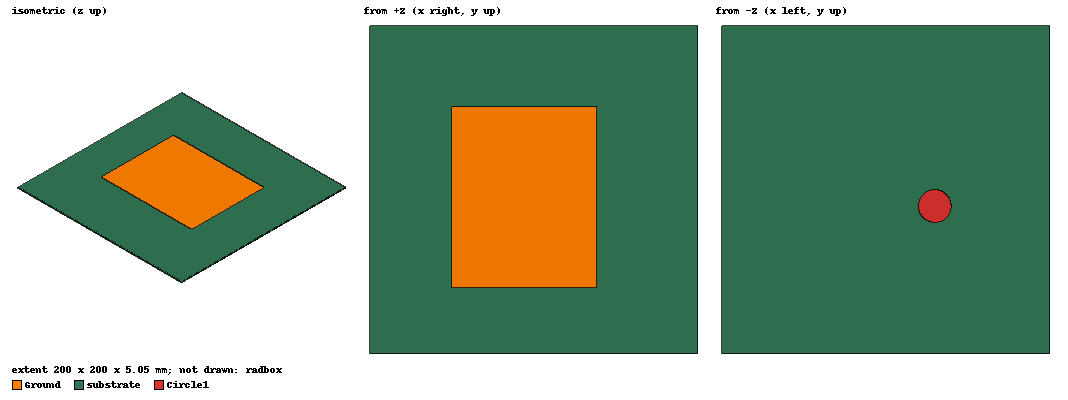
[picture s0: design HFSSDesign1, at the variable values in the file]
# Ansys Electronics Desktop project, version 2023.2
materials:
  vacuum: permittivity=1
  Rogers RO4003 (tm): permittivity=3.55 dielectric_loss_tangent=0.0027
  copper: permeability=0.999991 conductivity=58000000
  Teflon (tm): permittivity=2.1 dielectric_loss_tangent=0.001
  air: permittivity=1.0006 permeability=1.0000004

design HFSSDesign1 (HFSS, HFSS Terminal Network, model units mm)
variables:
  subl = 200mm
  subw = 200mm
  height = 0.8mm
  patchl = 88.343113mm
  patchw = 110.49892mm
  xr = 70mm
  yr = 90mm
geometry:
  substrate [Rogers RO4003 (tm)] = box(corner=(0mm, 0mm, 0mm), size=(subl, subw, -height))
  Patch = rectangle(corner=(50mm, 40mm, 0mm), x_size=88.343113mm, y_size=110.49892mm)
  Patch.thicken(0.05mm)
  Ground [copper] = rectangle(corner=(0mm, 0mm, -(height)), x_size=subl, y_size=subw)
  Ground.thicken(0.05mm)
  Shortpin = cylinder(axis=Z, base_centre=(60mm, 45mm, 0mm), radius=0.6mm, height=-height)
  Circle1 = circle(normal=Z, centre=(xr, yr, -5mm), radius=10mm)
  Circle2 = circle(normal=Z, centre=(xr, yr, -height), radius=1mm)
  Circle2.thicken(0.05mm)
  Ground.subtract(Circle2)
  outer [Teflon (tm)] = cylinder(axis=Z, base_centre=(xr, yr, -5mm), radius=1mm, height=5mm-height)
  inner = cylinder(axis=Z, base_centre=(xr, yr, 0mm), radius=0.6mm, height=-5mm)
  sourcepin [copper] = cylinder(axis=Z, base_centre=(xr, yr, 0mm), radius=0.6mm, height=-5mm)
  outer.subtract(inner)
  radbox [air] = box(corner=(-230mm, -220mm, -40mm), size=(600mm, 600mm, 100mm))
  Ground.unite(Shortpin, Patch)
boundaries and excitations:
  Rad1: Radiation Objects=radbox
  1: Lumped Port Objects=Circle1 LumpedPortType=Modal Modes{Mode1{IntLine{(70, 90, -5) -> (77000mm, 97000mm, -5000mm)} CharImp=Zpi}} Impedance=50ohm
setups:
  Setup1: HfssDriven Frequency=900MHz MaxDeltaS=0.02 MaximumPasses=6 MinimumPasses=1 MinimumConvergedPasses=1 PercentRefinement=30 BasisOrder=1 PortAccuracy=2 UseABCOnPort DrivenSolverType="Direct Solver"
    sweep Sweep: 450MHz to 1350MHz, 401 points; Type=Fast SaveFields
  Setup2: HfssDriven Frequency=5GHz MaxDeltaS=0.02 MaximumPasses=6 MinimumPasses=1 MinimumConvergedPasses=1 PercentRefinement=30 BasisOrder=1 PortAccuracy=2 UseABCOnPort DrivenSolverType="Direct Solver"
  Setup3: HfssDriven Frequency=900MHz MaxDeltaS=0.02 MaximumPasses=6 MinimumPasses=1 MinimumConvergedPasses=1 PercentRefinement=30 BasisOrder=1 PortAccuracy=2 UseABCOnPort DrivenSolverType="Direct Solver"
    sweep Sweep: 450MHz to 1350MHz, 401 points; Type=Fast SaveFields
  Setup4: HfssDriven Frequency=900MHz MaxDeltaS=0.01 MaximumPasses=20 MinimumPasses=1 MinimumConvergedPasses=1 PercentRefinement=30 BasisOrder=1 PortAccuracy=2 DrivenSolverType="Direct Solver"
  Setup5: HfssDriven Frequency=900MHz MaxDeltaS=0.01 MaximumPasses=20 MinimumPasses=1 MinimumConvergedPasses=1 PercentRefinement=30 BasisOrder=1 PortAccuracy=2 UseABCOnPort DrivenSolverType="Direct Solver"
    sweep Sweep: 450MHz to 1350MHz, 401 points; Type=Interpolating InterpTolerance=0.5 InterpMaxSolns=250 PassivityErrorTolerance=0.0001
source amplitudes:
  1:1: 1V 0deg
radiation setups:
  Infinite Sphere1: Infinite Sphere Theta=0deg..360deg step 1deg Phi=-180deg..180deg step 1deg
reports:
  S Parameter Plot 1: dB(S(1,1)) vs Freq on Setup1 : Sweep
  Gain Plot 1: dB(GainTotal) vs Phi, Theta on Setup1 : LastAdaptive, Infinite Sphere1 [Freq=0.9GHz]
  S Parameter Plot 2: dB(S(1,1)) vs Freq on Setup1 : Sweep
